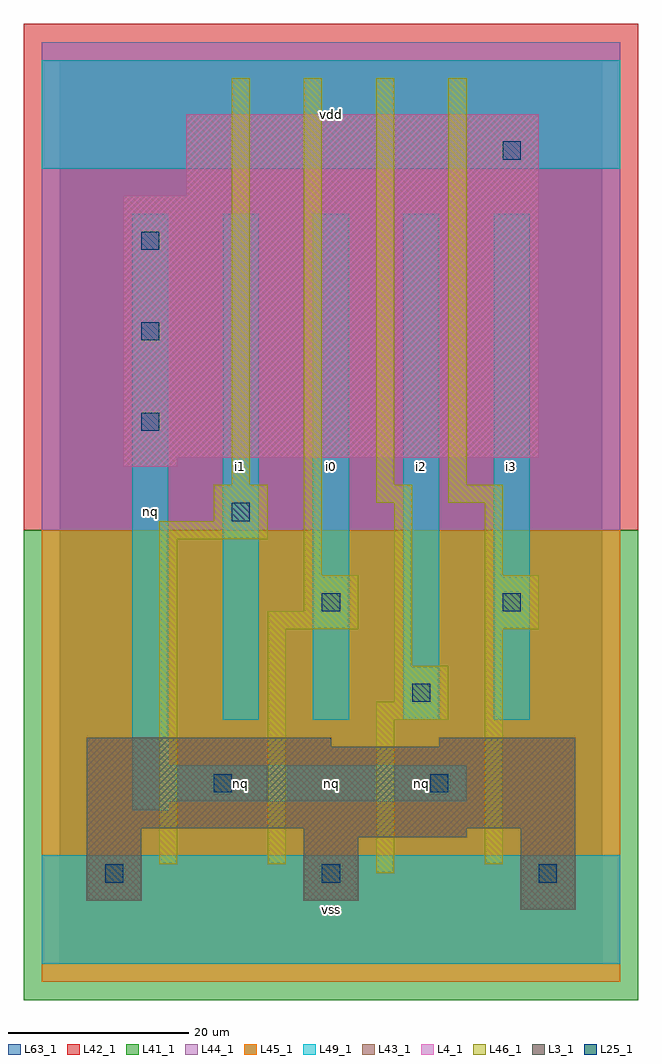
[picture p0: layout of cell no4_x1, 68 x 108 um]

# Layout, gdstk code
import gdstk
lib = gdstk.Library(unit=1e-6, precision=1e-09)
def R(c, l, rs):  # rectangles x0, y0, x1, y1
    for r in rs: c.add(gdstk.rectangle(r[:2], r[2:], *l))
def A(c, l, x, y, w, h, nx, ny, dx, dy):  # array of equal rectangles
    R(c, l, [(x+i*dx, y+j*dy, x+i*dx+w, y+j*dy+h) for i in range(nx) for j in range(ny)])
L3_1 = (3, 1)
L4_1 = (4, 1)
L25_1 = (25, 1)
L41_1 = (41, 1)
L42_1 = (42, 1)
L43_1 = (43, 1)
L44_1 = (44, 1)
L45_1 = (45, 1)
L46_1 = (46, 1)
L49_1 = (49, 1)
L63_1 = (63, 1)

no4_x1 = lib.new_cell('no4_x1')
R(no4_x1, L3_1, [(51,6,57,15), (3,7,9,15), (27,7,33,14), (27,14,45,15), (3,15,57,24), (3,24,30,25), (42,24,57,25)])
R(no4_x1, L4_1, [(7,55,13,56), (7,56,53,85), (14,85,53,94)])
A(no4_x1, L25_1, 5, 9, 2, 2, 3, 1, 24, 0)
A(no4_x1, L25_1, 9, 59, 2, 2, 1, 3, 0, 10)
R(no4_x1, L25_1, [(17,19,19,21), (41,19,43,21), (39,29,41,31), (29,39,31,41), (49,39,51,41), (19,49,21,51), (49,89,51,91)])
R(no4_x1, L41_1, [(-4,-4,64,48)])
R(no4_x1, L42_1, [(-4,48,64,104)])
R(no4_x1, L43_1, [(51,6,57,15), (3,7,9,15), (27,7,33,14), (27,14,45,15), (3,15,57,24), (3,24,30,25), (42,24,57,25), (7,55,13,56), (7,56,53,85), (14,85,53,94)])
R(no4_x1, L44_1, [(-2,48,62,102)])
R(no4_x1, L45_1, [(-2,-2,62,48)])
R(no4_x1, L46_1, [(35,10,37,27), (11,11,13,47), (23,11,25,37), (47,11,49,37), (35,27,43,29), (37,29,43,33), (37,33,39,51), (23,37,33,39), (47,37,53,43), (27,39,33,43), (27,43,29,98), (47,43,49,51), (11,47,23,49), (17,49,23,53), (35,51,39,53), (43,51,49,53), (19,53,21,98), (35,53,37,98), (43,53,45,98)])
A(no4_x1, L49_1, 18, 27, 4, 56, 4, 1, 10, 0)
R(no4_x1, L49_1, [(-2,0,62,12), (8,17,12,18), (8,18,45,22), (8,22,12,83), (-2,88,62,100)])
R(no4_x1, L63_1, [(0,0,60,100)])
no4_x1.add(gdstk.Label('nq', (10,50), layer=49, texttype=1))
no4_x1.add(gdstk.Label('nq', (20,20), layer=49, texttype=1))
no4_x1.add(gdstk.Label('i1', (20,55), layer=49, texttype=1))
no4_x1.add(gdstk.Label('nq', (30,20), layer=49, texttype=1))
no4_x1.add(gdstk.Label('vss', (30,6), layer=49, texttype=1))
no4_x1.add(gdstk.Label('nq', (40,20), layer=49, texttype=1))
no4_x1.add(gdstk.Label('i0', (30,55), layer=49, texttype=1))
no4_x1.add(gdstk.Label('i2', (40,55), layer=49, texttype=1))
no4_x1.add(gdstk.Label('vdd', (30,94), layer=49, texttype=1))
no4_x1.add(gdstk.Label('i3', (50,55), layer=49, texttype=1))

lib.write_gds('no4_x1.gds')
